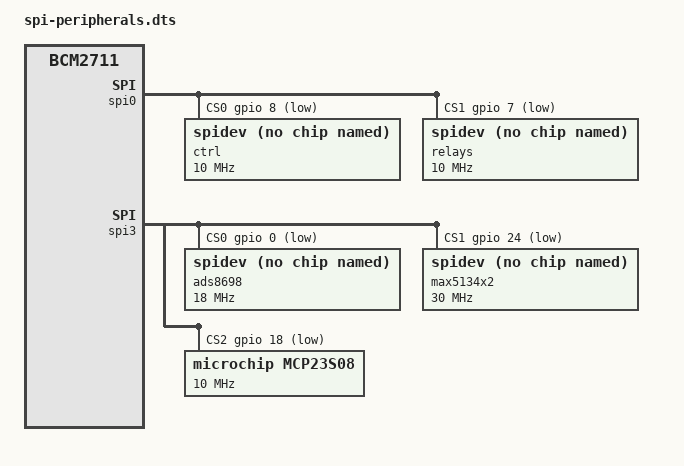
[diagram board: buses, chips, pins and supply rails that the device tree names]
/dts-v1/;
/plugin/;

/ {
	compatible = "brcm,bcm2711";

	fragment@0 {
		target = <&spi0_cs_pins>;

		frag0: __overlay__ {
			brcm,pins = <8 7>;
			brcm,function = <1>; /* output */
		};
	};

	fragment@1 {
		target = <&spi0>;

		frag1: __overlay__ {
			#address-cells = <1>;
			#size-cells = <0>;

			pinctrl-names = "default";
			pinctrl-0 = <&spi0_pins &spi0_cs_pins>;
			cs-gpios = <&gpio 8 1>, <&gpio 7 1>;
			status = "okay";

			ctrl@0 {
				compatible = "spidev";
				symlink = "spi/ctrl";
				reg = <0>;
				spi-max-frequency = <10000000>;
				spi-tx-delay-us = <0>;
				spi-rx-delay-us = <0>;
				spi-cpol;
				spi-cpha;
			};

			relays@1 {
				compatible = "spidev";
				symlink = "spi/relays";
				reg = <1>;
				spi-max-frequency = <10000000>;
				spi-tx-delay-us = <0>;
				spi-rx-delay-us = <0>;
				spi-cpol;
				spi-cpha;
			};
		};
	};

	fragment@2 {
		target = <&spi3_cs_pins>;

		frag2: __overlay__ {
			brcm,pins = <0 24 18>;
			brcm,function = <1>; /* output */
		};
	};

	fragment@3 {
		target = <&spi3>;

		frag3: __overlay__ {
			#address-cells = <1>;
			#size-cells = <0>;

			pinctrl-names = "default";
			pinctrl-0 = <&spi3_pins &spi3_cs_pins>;
			cs-gpios = <&gpio 0 1>, <&gpio 24 1>, <&gpio 18 1>;
			status = "okay";

			ads8698@0 {
				compatible = "spidev";
				symlink = "spi/ads8698";
				spi-max-frequency = <18000000>;
				reg = <0>;
				spi-cpha;
			};

			max5134x2@1 {
				compatible = "spidev";
				symlink = "spi/max5134x2";
				reg = <1>;
				spi-max-frequency = <30000000>;
				spi-cpol;
			};

			mcp23s08@2 {
				compatible = "microchip,mcp23s08";
				reg = <2>;
				gpio-controller;
				#gpio-cells = <2>;
				microchip,spi-present-mask = <0x01>;
				spi-max-frequency = <10000000>;
				spi-cpol;
				spi-cpha;
				pinctrl-names = "default";
				pinctrl-0 = <&mcp23s08pullups>;

				/* Enable internal 100K pull-ups. */
				mcp23s08pullups: pinmux {
					pins = "gpio0", "gpio1", "gpio2",
						"gpio3", "gpio4", "gpio5",
						"gpio6", "gpio7";

					bias-pull-up;
				};
			};
		};
	};
};
